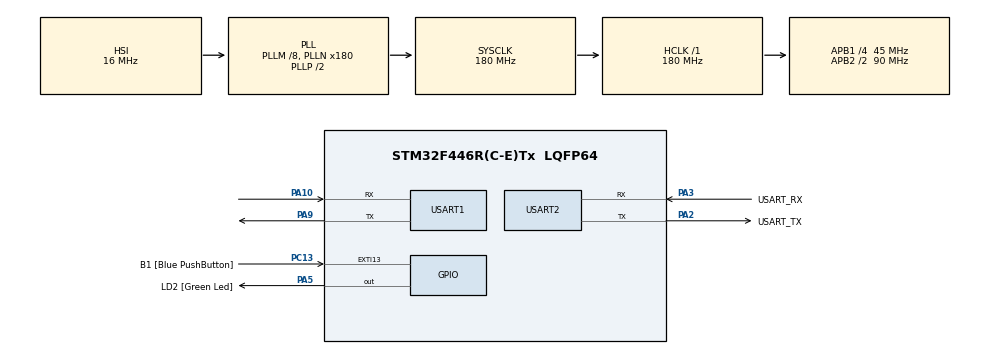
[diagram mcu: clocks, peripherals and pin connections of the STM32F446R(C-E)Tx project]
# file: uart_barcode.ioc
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Mcu.Family=STM32F4
Mcu.Name=STM32F446R(C-E)Tx
Mcu.Package=LQFP64
NVIC.PriorityGroup=NVIC_PRIORITYGROUP_0
PA10.Mode=Asynchronous
PA10.Signal=USART1_RX
PA13.GPIO_Label=TMS
PA13.Mode=Serial_Wire
PA13.Signal=SYS_JTMS-SWDIO
PA14.GPIO_Label=TCK
PA14.Mode=Serial_Wire
PA14.Signal=SYS_JTCK-SWCLK
PA2.GPIO_Label=USART_TX
PA2.Mode=Asynchronous
PA2.Signal=USART2_TX
PA3.GPIO_Label=USART_RX
PA3.Mode=Asynchronous
PA3.Signal=USART2_RX
PA5.GPIO_Label=LD2 [Green Led]
PA5.Signal=GPIO_Output
PA9.Mode=Asynchronous
PA9.Signal=USART1_TX
PB3.GPIO_Label=SWO
PB3.Signal=SYS_JTDO-SWO
PC13.GPIO_Label=B1 [Blue PushButton]
PC13.GPIO_ModeDefaultEXTI=GPIO_MODE_IT_FALLING
PC13.Signal=GPXTI13
PC14-OSC32_IN.Mode=LSE-External-Oscillator
PC14-OSC32_IN.Signal=RCC_OSC32_IN
PC15-OSC32_OUT.Mode=LSE-External-Oscillator
PC15-OSC32_OUT.Signal=RCC_OSC32_OUT
PH0-OSC_IN.Mode=HSE-External-Oscillator
PH0-OSC_IN.Signal=RCC_OSC_IN
PH1-OSC_OUT.Mode=HSE-External-Oscillator
PH1-OSC_OUT.Signal=RCC_OSC_OUT
ProjectManager.HeapSize=0x200
ProjectManager.StackSize=0x400
ProjectManager.TargetToolchain=STM32CubeIDE
RCC.48MHZClocksFreq_Value=84000000
RCC.AHBFreq_Value=180000000
RCC.APB1CLKDivider=RCC_HCLK_DIV4
RCC.APB1Freq_Value=45000000
RCC.APB1TimFreq_Value=90000000
RCC.APB2CLKDivider=RCC_HCLK_DIV2
RCC.APB2Freq_Value=90000000
RCC.APB2TimFreq_Value=180000000
RCC.CortexFreq_Value=180000000
RCC.FLatency-AdvancedSettings=FLASH_LATENCY_5
RCC.HCLKFreq_Value=180000000
RCC.HSE_VALUE=8000000
RCC.HSI_VALUE=16000000
RCC.PLLM=8
RCC.PLLN=180
RCC.SYSCLKFreq_VALUE=180000000
RCC.SYSCLKSource=RCC_SYSCLKSOURCE_PLLCLK
RCC.USBFreq_Value=180000000
RCC.VCOOutputFreq_Value=360000000
USART1.VirtualMode=VM_ASYNC
USART2.VirtualMode=VM_ASYNC
board=NUCLEO-F446RE

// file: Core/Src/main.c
/* USER CODE BEGIN Header */
/**
  ******************************************************************************
  * @file           : main.c
  * @brief          : Main program body
  ******************************************************************************
  * @attention
  *
  * <h2><center>&copy; Copyright (c) 2020 STMicroelectronics.
  * All rights reserved.</center></h2>
  *
  * This software component is licensed by ST under BSD 3-Clause license,
  * the "License"; You may not use this file except in compliance with the
  * License. You may obtain a copy of the License at:
  *                        opensource.org/licenses/BSD-3-Clause
  *
  ******************************************************************************
  */
/* USER CODE END Header */

#include "main.h"

/* USER CODE BEGIN Includes */
#include "stm32f446xx.h"
/* USER CODE END Includes */

UART_HandleTypeDef huart1;
UART_HandleTypeDef huart2;

/* USER CODE BEGIN PV */
volatile uint8_t uartFlag = 0;
/* USER CODE END PV */

void SystemClock_Config(void);
static void MX_GPIO_Init(void);
static void MX_USART2_UART_Init(void);
static void MX_USART1_UART_Init(void);
/* USER CODE BEGIN PFP */
//void HAL_UART_RxCpltCallback(UART_HandleTypeDef *huart1);
void USART1_IRQHandler(void);
void Barcode_Reader(void);
/* USER CODE END PFP */

/* USER CODE BEGIN 0 */
void USART1_IRQHandler(void){
		NVIC_DisableIRQ(USART1_IRQn);
		Barcode_Reader();
		NVIC_EnableIRQ(USART1_IRQn);
}

void Barcode_Reader(void)
{
	uint8_t dataArray[30];	//Array to store data
	char var = 0;			//Temp variable
	unsigned char i = 0;	//Counter

	do
	{
		if(USART1->SR & USART_SR_RXNE) //Check for reception bit
		{
			var = USART1->DR; 	//Get data from shift register
			dataArray[i] = var;	//Store RX data on array
			i++;
		}
	}
	while(var != '\r');			//Get data block until I get carry return

	for(unsigned char j = 0; j < i; j++)	//Loop to print data through serial
	{
		USART1->DR = dataArray[j];			//Send data to shift register
		while (!(USART1->SR & USART_SR_TC));
	}

	USART1->SR &= ~(USART_SR_RXNE);

}
/* USER CODE END 0 */

int main(void)
{

  /* MCU Configuration--------------------------------------------------------*/

  /* Reset of all peripherals, Initializes the Flash interface and the Systick. */
  HAL_Init();

  /* Configure the system clock */
  SystemClock_Config();

  /* Initialize all configured peripherals */
  MX_GPIO_Init();
  MX_USART2_UART_Init();
  MX_USART1_UART_Init();
  /* USER CODE BEGIN 2 */
  USART1->CR1 |= USART_CR1_RXNEIE;
  NVIC_EnableIRQ(USART1_IRQn);
  /* USER CODE END 2 */

  /* Infinite loop */
  /* USER CODE BEGIN WHILE */
  uint8_t var = 'a';

  USART1->DR = var;  //send it back out
  while (!(USART1->SR & USART_SR_TC)); //wait for TX to be complete

  while (1)
  {

//	  char temp;
//	  unsigned char i = 0;
//
//	  do
//	  {
//		  if(USART1->SR & USART_SR_RXNE) //if RX is not empty
//	  	  {
//			  temp = USART1->DR; //fetch the data received
//	  		  dataArray[i] = temp;
//	  		  i++;
//	  	  }
//	  }
//	  while(temp != 0x0D);
//
//	  temp = 0;
//
//	  for(unsigned char j = 0; j < i; j++)
//	  {
//		  USART1->DR = dataArray[j];  //send it back out
//		  while (!(USART1->SR & USART_SR_TC)); //wait for TX to be complete
//	  }

//	  if(uartFlag)
//	  {
//		  uartFlag = 0;
//		  Barcode_Reader();
//	  }

//	  if(uartFlag)
//	  {
//		  char temp;
//		  unsigned char i = 0;
//		  uartFlag = 0;
//		  do
//		  {
//			  if(USART1->SR & USART_SR_RXNE) //if RX is not empty
//			  {
//				  temp = USART1->DR; //fetch the data received
//				  dataArray[i] = temp;
//			  	  //USART1->DR = temp;  //send it back out
//			  	  i++;
//			  }
//		  }
//		  while(temp != 0x0D);
//
//		  for(unsigned char j = 0; j < i; j++)
//		  {
//			  USART1->DR = dataArray[j];  //send it back out
//			  while (!(USART_SR_TC)); //wait for TX to be complete
//		  }
//
//
//		  NVIC_EnableIRQ(USART1_IRQn);
//	  }
//
	  HAL_GPIO_TogglePin(GPIOA, GPIO_PIN_5);
	  HAL_Delay(500);

    /* USER CODE END WHILE */

  }
}

void SystemClock_Config(void)
{
  RCC_OscInitTypeDef RCC_OscInitStruct = {0};
  RCC_ClkInitTypeDef RCC_ClkInitStruct = {0};

  /** Configure the main internal regulator output voltage
  */
  __HAL_RCC_PWR_CLK_ENABLE();
  __HAL_PWR_VOLTAGESCALING_CONFIG(PWR_REGULATOR_VOLTAGE_SCALE1);
  /** Initializes the CPU, AHB and APB busses clocks
  */
  RCC_OscInitStruct.OscillatorType = RCC_OSCILLATORTYPE_HSI;
  RCC_OscInitStruct.HSIState = RCC_HSI_ON;
  RCC_OscInitStruct.HSICalibrationValue = RCC_HSICALIBRATION_DEFAULT;
  RCC_OscInitStruct.PLL.PLLState = RCC_PLL_ON;
  RCC_OscInitStruct.PLL.PLLSource = RCC_PLLSOURCE_HSI;
  RCC_OscInitStruct.PLL.PLLM = 8;
  RCC_OscInitStruct.PLL.PLLN = 180;
  RCC_OscInitStruct.PLL.PLLP = RCC_PLLP_DIV2;
  RCC_OscInitStruct.PLL.PLLQ = 2;
  RCC_OscInitStruct.PLL.PLLR = 2;
  if (HAL_RCC_OscConfig(&RCC_OscInitStruct) != HAL_OK)
  {
    Error_Handler();
  }
  /** Activate the Over-Drive mode
  */
  if (HAL_PWREx_EnableOverDrive() != HAL_OK)
  {
    Error_Handler();
  }
  /** Initializes the CPU, AHB and APB busses clocks
  */
  RCC_ClkInitStruct.ClockType = RCC_CLOCKTYPE_HCLK|RCC_CLOCKTYPE_SYSCLK
                              |RCC_CLOCKTYPE_PCLK1|RCC_CLOCKTYPE_PCLK2;
  RCC_ClkInitStruct.SYSCLKSource = RCC_SYSCLKSOURCE_PLLCLK;
  RCC_ClkInitStruct.AHBCLKDivider = RCC_SYSCLK_DIV1;
  RCC_ClkInitStruct.APB1CLKDivider = RCC_HCLK_DIV4;
  RCC_ClkInitStruct.APB2CLKDivider = RCC_HCLK_DIV2;

  if (HAL_RCC_ClockConfig(&RCC_ClkInitStruct, FLASH_LATENCY_5) != HAL_OK)
  {
    Error_Handler();
  }
}

static void MX_USART1_UART_Init(void)
{

  huart1.Instance = USART1;
  huart1.Init.BaudRate = 115200;
  huart1.Init.WordLength = UART_WORDLENGTH_8B;
  huart1.Init.StopBits = UART_STOPBITS_1;
  huart1.Init.Parity = UART_PARITY_NONE;
  huart1.Init.Mode = UART_MODE_TX_RX;
  huart1.Init.HwFlowCtl = UART_HWCONTROL_NONE;
  huart1.Init.OverSampling = UART_OVERSAMPLING_16;
  if (HAL_UART_Init(&huart1) != HAL_OK)
  {
    Error_Handler();
  }

}

static void MX_USART2_UART_Init(void)
{

  huart2.Instance = USART2;
  huart2.Init.BaudRate = 115200;
  huart2.Init.WordLength = UART_WORDLENGTH_8B;
  huart2.Init.StopBits = UART_STOPBITS_1;
  huart2.Init.Parity = UART_PARITY_NONE;
  huart2.Init.Mode = UART_MODE_TX_RX;
  huart2.Init.HwFlowCtl = UART_HWCONTROL_NONE;
  huart2.Init.OverSampling = UART_OVERSAMPLING_16;
  if (HAL_UART_Init(&huart2) != HAL_OK)
  {
    Error_Handler();
  }

}

static void MX_GPIO_Init(void)
{
  GPIO_InitTypeDef GPIO_InitStruct = {0};

  /* GPIO Ports Clock Enable */
  __HAL_RCC_GPIOC_CLK_ENABLE();
  __HAL_RCC_GPIOH_CLK_ENABLE();
  __HAL_RCC_GPIOA_CLK_ENABLE();
  __HAL_RCC_GPIOB_CLK_ENABLE();

  /*Configure GPIO pin Output Level */
  HAL_GPIO_WritePin(LD2_GPIO_Port, LD2_Pin, GPIO_PIN_RESET);

  /*Configure GPIO pin : B1_Pin */
  GPIO_InitStruct.Pin = B1_Pin;
  GPIO_InitStruct.Mode = GPIO_MODE_IT_FALLING;
  GPIO_InitStruct.Pull = GPIO_NOPULL;
  HAL_GPIO_Init(B1_GPIO_Port, &GPIO_InitStruct);

  /*Configure GPIO pin : LD2_Pin */
  GPIO_InitStruct.Pin = LD2_Pin;
  GPIO_InitStruct.Mode = GPIO_MODE_OUTPUT_PP;
  GPIO_InitStruct.Pull = GPIO_NOPULL;
  GPIO_InitStruct.Speed = GPIO_SPEED_FREQ_LOW;
  HAL_GPIO_Init(LD2_GPIO_Port, &GPIO_InitStruct);

}

void Error_Handler(void)
{
}

/************************ (C) COPYRIGHT STMicroelectronics *****END OF FILE****/
